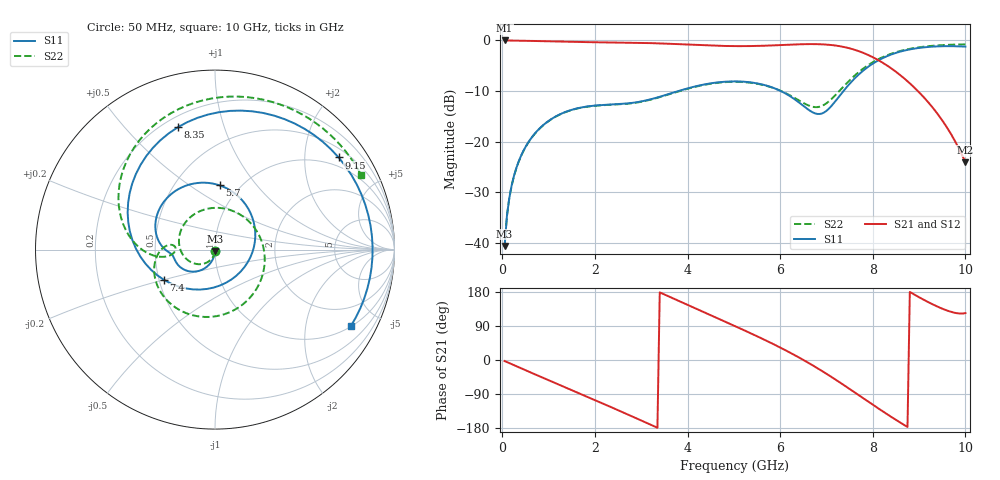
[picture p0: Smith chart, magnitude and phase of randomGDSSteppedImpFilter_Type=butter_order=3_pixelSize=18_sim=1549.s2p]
! freq	dB(S11)	phase(S11)	dB(S12)	phase(S12)
!  dB(S21)	phase(S21)	dB(S22)	phase(S22)
!S-par simulation data
#  GHz  S  DB  R 50
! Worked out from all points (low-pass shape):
!   200 points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, 50 MHz to 10 GHz, reference 50 ohm
!   highest |S21| = -0.01 dB at 50 MHz (marker M1); lowest = -24.0 dB at 10 GHz (marker M2)
!   |S21| within 3 dB of the highest: start of sweep to 7.932 GHz
!   lowest |S11| = -40.6 dB at 50 MHz (marker M3), VSWR 1.02, Z = 50 - j0.935 ohm
!   |S11| at or under -10 dB: start of sweep to 3.799 GHz; 6.016 GHz to 7.366 GHz (1.35 GHz wide, 20.2 % of centre)
!   |S22| runs from -40.6 to -0.8 dB; largest |S21 - S12| = 0
!   S11 on the Smith chart (normalised r, x): 50 MHz: 1.00, -0.02; 5.7 GHz: 0.81, +0.66; 7.4 GHz: 0.53, -0.20; 8.35 GHz: 0.26, +0.71; 9.15 GHz: 0.73, +2.85; 10 GHz: 1.02, -3.54
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0.05  -40.58 -91.0  -0.01 -2.7  -0.01 -2.7  -40.60 -92.3
0.1  -34.65 -93.6  -0.01 -5.4  -0.01 -5.4  -34.67 -96.1
0.2  -28.72 -98.3  -0.02 -10.8  -0.02 -10.8  -28.74 -103.2
0.5  -21.05 -111.0  -0.07 -26.9  -0.07 -26.9  -21.08 -123.6
1.15  -15.02 -136.1  -0.21 -61.3  -0.21 -61.3  -15.05 -167.8
1.75  -13.16 -155.2  -0.32 -92.7  -0.32 -92.7  -13.19 148.3
2.2  -12.73 -165.6  -0.38 -116.4  -0.38 -116.4  -12.77 111.3
2.7  -12.44 -172.5  -0.43 -143.3  -0.43 -143.3  -12.49 64.7
3.4  -11.12 179.9  -0.59 178.4  -0.59 178.4  -11.19 -4.0
4.3  -8.80 156.0  -0.94 129.1  -0.94 129.1  -8.88 -78.1
5.05  -8.09 123.5  -1.12 88.0  -1.12 88.0  -8.17 -126.6
5.7  -8.90 85.9  -1.03 51.1  -1.03 51.1  -8.95 -161.8
6.25  -11.22 41.0  -0.82 17.0  -0.82 17.0  -11.03 176.8
6.7  -14.18 -21.2  -0.72 -13.9  -0.72 -13.9  -13.09 176.7
7.1  -13.01 -101.5  -0.90 -44.1  -0.90 -44.1  -11.63 -172.2
7.4  -9.62 -149.2  -1.34 -68.2  -1.34 -68.2  -8.79 -176.0
7.9  -5.20 151.8  -2.87 -109.6  -2.87 -109.6  -4.87 158.5
8.35  -2.95 106.9  -5.20 -146.3  -5.20 -146.3  -2.79 128.3
8.75  -1.86 70.6  -8.06 -176.8  -8.06 -176.8  -1.75 101.1
9.15  -1.32 36.7  -11.71 155.7  -11.71 155.7  -1.18 75.2
9.55  -1.13 4.9  -16.45 133.0  -16.45 133.0  -0.90 51.3
10  -1.22 -29.4  -24.03 123.6  -24.03 123.6  -0.78 26.9
